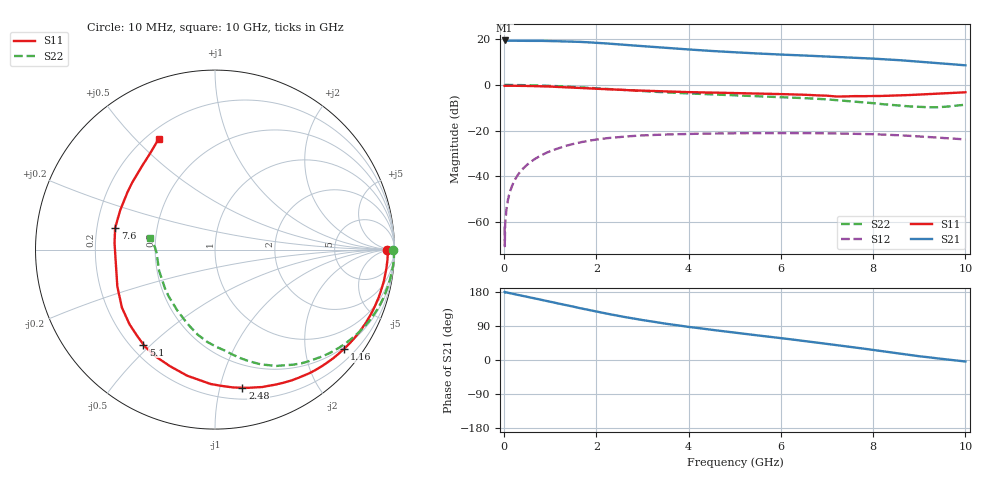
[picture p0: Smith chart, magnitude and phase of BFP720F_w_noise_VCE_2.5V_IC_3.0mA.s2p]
! Infineon Technologies  Discrete & RF Semiconductors
! BFP720F
! VCE =  2.5 V,  IC =  3.0 mA
! Common Emitter S-Parameters:  Jan 2016
# GHz  S  MA  R  50
!  f  S11  S21  S12  S22
! GHz  MAG  ANG  MAG  ANG  MAG  ANG  MAG  ANG
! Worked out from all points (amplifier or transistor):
!   233 points, 10 MHz to 10 GHz, reference 50 ohm
!   highest |S21| = 19.4 dB at 10 MHz (marker M1)
!   |S21| within 3 dB of that: start of sweep to 3.342 GHz
!   unconditionally stable (mu >= 1): 8.719 GHz to end of sweep
!   at 200 MHz: K = 0.02, MSG = 31.0 dB, |S12| = -42.7 dB
!   at 1.74 GHz: K = 0.16, MSG = 21.7 dB, |S12| = -24.7 dB
!   at 10 GHz: K = 1.17, MAG = 13.7 dB, |S12| = -23.8 dB
!   lowest NFmin = 0.40 dB at 450 MHz
!   S11 on the Smith chart (normalised r, x): 10 MHz: 46, -2; 1.16 GHz: 0.46, -2.87; 2.48 GHz: 0.29, -1.17; 5.1 GHz: 0.25, -0.47; 7.6 GHz: 0.28, +0.10; 10 GHz: 0.25, +0.58
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0.01  0.9573 -0.1  9.371 179.6  0.0008 -42.5  0.9944 -0.1
0.015  0.9607 -0.4  9.259 178.8  0.0003 22.8  0.9972 -0.6
0.02  0.9641 -0.6  9.15 177.9  0.0008 88.2  1 -1.1
0.03  0.9635 -0.9  9.185 178.0  0.0012 89.4  0.9993 -1.1
0.05  0.9623 -1.6  9.256 178.3  0.0019 90.4  0.9978 -1.2
0.085  0.9626 -2.7  9.258 177.4  0.0032 87.5  0.9982 -1.9
0.3  0.9579 -9.5  9.224 171.8  0.0109 83.6  0.9921 -6.7
0.8  0.9345 -25.8  9.187 159.0  0.0288 72.5  0.9708 -18.0
1.16  0.9072 -37.6  9.005 149.5  0.041 64.2  0.9407 -26.3
1.68  0.8582 -55.0  8.692 135.8  0.0564 52.3  0.8826 -38.0
2.02  0.8251 -65.6  8.311 127.2  0.0645 44.9  0.8409 -45.2
2.48  0.7845 -78.8  7.697 116.5  0.0727 35.5  0.7866 -54.0
2.96  0.751 -90.9  7.092 106.2  0.0785 27.3  0.7361 -61.6
3.4  0.7235 -100.2  6.572 97.8  0.0819 20.8  0.6969 -66.9
4  0.6963 -111.1  5.958 87.3  0.0852 13.1  0.652 -72.8
5.1  0.6622 -127.0  5.105 70.7  0.0881 1.5  0.5873 -81.3
6  0.6323 -138.9  4.61 57.7  0.0889 -6.9  0.5436 -88.8
6.8  0.5909 -154.6  4.261 45.6  0.0881 -14.3  0.4961 -98.6
7.6  0.5695 167.7  3.914 33.1  0.0856 -21.7  0.432 -112.3
8.4  0.5837 146.4  3.562 19.9  0.081 -29.1  0.3665 -134.9
9  0.6159 131.8  3.229 9.9  0.075 -34.1  0.3331 -159.4
10  0.6908 117.1  2.683 -4.0  0.0645 -38.6  0.3702 169.8
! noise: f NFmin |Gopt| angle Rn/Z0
0.45  0.4  0.62  4  0.22
0.9  0.47  0.62  12  0.22
1.8  0.5  0.6  23  0.17
2.4  0.55  0.59  30  0.16
5.5  0.77  0.44  81  0.11
10  1.13  0.28  -126  0.14
